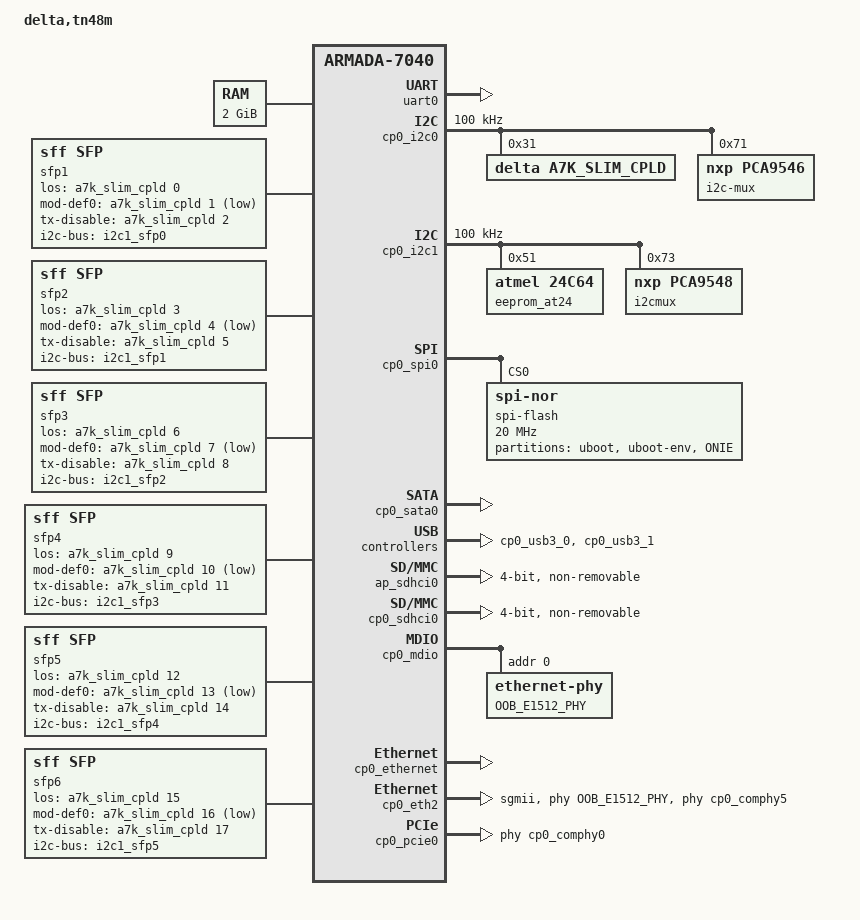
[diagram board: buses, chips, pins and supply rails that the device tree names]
/*
 * Delta TN48M/TN48M2/TN48M-POE Device Tree Source
 *
 * Copyright (C) 2016 Marvell Technology Group Ltd.
 *
 * This file is dual-licensed: you can use it either under the terms
 * of the GPLv2 or the X11 license, at your option. Note that this dual
 * licensing only applies to this file, and not this project as a
 * whole.
 *
 *  a) This library is free software; you can redistribute it and/or
 *     modify it under the terms of the GNU General Public License as
 *     published by the Free Software Foundation; either version 2 of the
 *     License, or (at your option) any later version.
 *
 *     This library is distributed in the hope that it will be useful,
 *     but WITHOUT ANY WARRANTY; without even the implied warranty of
 *     MERCHANTABILITY or FITNESS FOR A PARTICULAR PURPOSE.  See the
 *     GNU General Public License for more details.
 *
 * Or, alternatively,
 *
 *  b) Permission is hereby granted, free of charge, to any person
 *     obtaining a copy of this software and associated documentation
 *     files (the "Software"), to deal in the Software without
 *     restriction, including without limitation the rights to use,
 *     copy, modify, merge, publish, distribute, sublicense, and/or
 *     sell copies of the Software, and to permit persons to whom the
 *     Software is furnished to do so, subject to the following
 *     conditions:
 *
 *     The above copyright notice and this permission notice shall be
 *     included in all copies or substantial portions of the Software.
 *
 *     THE SOFTWARE IS PROVIDED "AS IS", WITHOUT WARRANTY OF ANY KIND,
 *     EXPRESS OR IMPLIED, INCLUDING BUT NOT LIMITED TO THE WARRANTIES
 *     OF MERCHANTABILITY, FITNESS FOR A PARTICULAR PURPOSE AND
 *     NONINFRINGEMENT. IN NO EVENT SHALL THE AUTHORS OR COPYRIGHT
 *     HOLDERS BE LIABLE FOR ANY CLAIM, DAMAGES OR OTHER LIABILITY,
 *     WHETHER IN AN ACTION OF CONTRACT, TORT OR OTHERWISE, ARISING
 *     FROM, OUT OF OR IN CONNECTION WITH THE SOFTWARE OR THE USE OR
 *     OTHER DEALINGS IN THE SOFTWARE.
 */

#include <dt-bindings/gpio/gpio.h>
#include "armada-7040.dtsi"

/ {
	model = "delta,tn48m";
	compatible = "delta,tn48m";

	chosen {
		stdout-path = "serial0:115200n8";
	};

	memory@0 {
		device_type = "memory";
		reg = <0x0 0x0 0x0 0x80000000>;
	};

	aliases {
		ethernet0 = &cp0_eth0;
		ethernet1 = &cp0_eth1;
		ethernet2 = &cp0_eth2;
	};

	sfp1: sfp-1 {
		compatible = "sff,sfp";
		i2c-bus = <&i2c1_sfp0>;
		maximum-power-milliwatt = <2000>;
		los-gpio = <&a7k_slim_cpld 0 GPIO_ACTIVE_HIGH>;
		mod-def0-gpio = <&a7k_slim_cpld 1 GPIO_ACTIVE_LOW>;
		tx-disable-gpio = <&a7k_slim_cpld 2 GPIO_ACTIVE_HIGH>;
	};

	sfp2: sfp-2 {
		compatible = "sff,sfp";
		i2c-bus = <&i2c1_sfp1>;
		maximum-power-milliwatt = <2000>;
		los-gpio = <&a7k_slim_cpld 3 GPIO_ACTIVE_HIGH>;
		mod-def0-gpio = <&a7k_slim_cpld 4 GPIO_ACTIVE_LOW>;
		tx-disable-gpio = <&a7k_slim_cpld 5 GPIO_ACTIVE_HIGH>;
	};

	sfp3: sfp-3 {
		compatible = "sff,sfp";
		i2c-bus = <&i2c1_sfp2>;
		maximum-power-milliwatt = <2000>;
		los-gpio = <&a7k_slim_cpld 6 GPIO_ACTIVE_HIGH>;
		mod-def0-gpio = <&a7k_slim_cpld 7 GPIO_ACTIVE_LOW>;
		tx-disable-gpio = <&a7k_slim_cpld 8 GPIO_ACTIVE_HIGH>;
	};

	sfp4: sfp-4 {
		compatible = "sff,sfp";
		i2c-bus = <&i2c1_sfp3>;
		maximum-power-milliwatt = <2000>;
		los-gpio = <&a7k_slim_cpld 9 GPIO_ACTIVE_HIGH>;
		mod-def0-gpio = <&a7k_slim_cpld 10 GPIO_ACTIVE_LOW>;
		tx-disable-gpio = <&a7k_slim_cpld 11 GPIO_ACTIVE_HIGH>;
	};

	sfp5: sfp-5 {
		compatible = "sff,sfp";
		i2c-bus = <&i2c1_sfp4>;
		maximum-power-milliwatt = <2000>;
		los-gpio = <&a7k_slim_cpld 12 GPIO_ACTIVE_HIGH>;
		mod-def0-gpio = <&a7k_slim_cpld 13 GPIO_ACTIVE_LOW>;
		tx-disable-gpio = <&a7k_slim_cpld 14 GPIO_ACTIVE_HIGH>;
	};

	sfp6: sfp-6 {
		compatible = "sff,sfp";
		i2c-bus = <&i2c1_sfp5>;
		maximum-power-milliwatt = <2000>;
		los-gpio = <&a7k_slim_cpld 15 GPIO_ACTIVE_HIGH>;
		mod-def0-gpio = <&a7k_slim_cpld 16 GPIO_ACTIVE_LOW>;
		tx-disable-gpio = <&a7k_slim_cpld 17 GPIO_ACTIVE_HIGH>;
	};

	prestera {
		compatible = "marvell,prestera";
		status = "okay";
		/* reg = <0x0 0x7F900000 0x0 0x40000>; */
		ports {
			port25 {
				prestera,port-num = <25>;
				sfp = <&sfp1>;
			};
			port26 {
				prestera,port-num = <26>;
				sfp = <&sfp2>;
			};

			port27 {
				prestera,port-num = <27>;
				sfp = <&sfp3>;
			};

			port28 {
				prestera,port-num = <28>;
				sfp = <&sfp4>;
			};

			port29 {
				prestera,port-num = <29>;
				sfp = <&sfp5>;
			};

			port30 {
				prestera,port-num = <30>;
				sfp = <&sfp6>;
			};
		};
	};

	onie_eeprom: onie-eeprom {
		compatible = "onie-nvmem-cells";
		status = "okay";

		nvmem = <&eeprom_at24>;
	};

	prestera {
		compatible = "marvell,prestera";
		status = "okay";

		base-mac-provider = <&onie_eeprom>;
	};
};

&uart0 {
	status = "okay";
};

&cp0_i2c0 {
	status = "okay";
	clock-frequency = <100000>;

	a7k_slim_cpld: a7k-slim-cpld@31 {
		compatible = "delta,a7k_slim_cpld";
		#address-cells = <1>;
		#size-cells = <0>;
		gpio-controller;
		#gpio-cells = <2>;
		reg = <0x31>;  /* CPLD/MUX I2C address */

		gpio-map {
			/* sfp1 */
			sfp01_gpio00_loss {
				reg-map = <0x32 (1 << 0)>;
				gpio-num = <0>;
			};
			sfp01_gpio01_pres {
				reg-map = <0x31 (1 << 0)>;
				gpio-num = <1>;
			};
			sfp01_gpio02_tx_dis {
				reg-map = <0x30 (1 << 0)>;
				gpio-num = <2>;
			};
			/* sfp2 */
			sfp02_gpio00_sfp_loss {
				reg-map = <0x32 (1 << 1)>;
				gpio-num = <3>;
			};
			sfp02_gpio01_sfp_pres {
				reg-map = <0x31 (1 << 1)>;
				gpio-num = <4>;
			};
			sfp02_gpio02_tx_dis {
				reg-map = <0x30 (1 << 1)>;
				gpio-num = <5>;
			};
			/* sfp3 */
			sfp03_gpio00_loss {
				reg-map = <0x32 (1 << 2)>;
				gpio-num = <6>;
			};
			sfp03_gpio01_pres {
				reg-map = <0x31 (1 << 2)>;
				gpio-num = <7>;
			};
			sfp03_gpio02_tx_dis {
				reg-map = <0x30 (1 << 2)>;
				gpio-num = <8>;
			};
			/* sfp4 */
			sfp04_gpio00_loss {
				reg-map = <0x32 (1 << 3)>;
				gpio-num = <9>;
			};
			sfp04_gpio01_sfp_pres {
				reg-map = <0x31 (1 << 3)>;
				gpio-num = <10>;
			};
			sfp04_gpio02_tx_dis {
				reg-map = <0x30 (1 << 3)>;
				gpio-num = <11>;
			};
			/* sfp5 */
			sfp05_gpio00_loss {
				reg-map = <0x32 (1 << 4)>;
				gpio-num = <12>;
			};
			sfp05_gpio01_pres {
				reg-map = <0x31 (1 << 4)>;
				gpio-num = <13>;
			};
			sfp05_gpio02_tx_dis {
				reg-map = <0x30 (1 << 4)>;
				gpio-num = <14>;
			};
			/* sfp6 */
			sfp06_gpio00_sfp_loss {
				reg-map = <0x32 (1 << 5)>;
				gpio-num = <15>;
			};
			sfp06_gpio01_sfp_pres {
				reg-map = <0x31 (1 << 5)>;
				gpio-num = <16>;
			};
			sfp06_gpio02_tx_dis {
				reg-map = <0x30 (1 << 5)>;
				gpio-num = <17>;
			};
		};
	};

	i2c-mux@71 {
		compatible = "nxp,pca9546";
		reg = <0x71>;
		#address-cells = <1>;
		#size-cells = <0>;

		i2c@0 {
			#address-cells = <1>;
			#size-cells = <0>;
			reg = <0>;
		};
		i2c@1 {
			#address-cells = <1>;
			#size-cells = <0>;
			reg = <1>;
		};
		i2c@2 {
			#address-cells = <1>;
			#size-cells = <0>;
			reg = <2>;
		};
		i2c@3 {
			#address-cells = <1>;
			#size-cells = <0>;
			reg = <3>;
		};
	};
};

&cp0_i2c1 {
	status = "okay";
	clock-frequency = <100000>;

	eeprom_at24: at24@51 {
		compatible = "atmel,24c64";
		reg = <0x51>;
	};

	i2cmux@73 {
		compatible = "nxp,pca9548";
		reg = <0x73>;
		#address-cells = <1>;
		#size-cells = <0>;
		i2c-mux-idle-disconnect;

		i2c1_sfp0: i2c@0 {
			reg = <0>;
			#address-cells = <1>;
			#size-cells = <0>;
                };
		i2c1_sfp1: i2c@1 {
			reg = <1>;
			#address-cells = <1>;
			#size-cells = <0>;
		};
		i2c1_sfp2: i2c@2 {
			reg = <2>;
			#address-cells = <1>;
			#size-cells = <0>;
		};
		i2c1_sfp3: i2c@3 {
			reg = <3>;
			#address-cells = <1>;
			#size-cells = <0>;
		};
		i2c1_sfp4: i2c@4 {
			reg = <4>;
			#address-cells = <1>;
			#size-cells = <0>;
		};
		i2c1_sfp5: i2c@5 {
			reg = <5>;
			#address-cells = <1>;
			#size-cells = <0>;
		};
		i2c1_sfp6: i2c@6 {
			reg = <6>;
			#address-cells = <1>;
			#size-cells = <0>;
		};
		i2c1_sfp7: i2c@7 {
			reg = <7>;
			#address-cells = <1>;
			#size-cells = <0>;
		};
	};
};

&cp0_spi0 {
	status = "okay";

	spi-flash@0 {
		compatible = "jedec,spi-nor";
		reg = <0x0>;
		spi-max-frequency = <20000000>;

		partitions {
			compatible = "fixed-partitions";
			#address-cells = <1>;
			#size-cells = <1>;

			partition@0 {
				label = "uboot";
				reg = <0x0 0x3f0000>;
			};

			partition@3f0000 {
				label = "uboot-env";
				reg = <0x3f0000 0x010000>;
			};

			partition@400000 {
				label = "ONIE";
				reg = <0x400000 0xc00000>;
			};
		};
	};
};

&cp0_sata0 {
	status = "okay";
};

&cp0_usb3_0 {
	status = "okay";
};

&cp0_usb3_1 {
	status = "okay";
};

&ap_sdhci0 {
	status = "okay";
	bus-width = <4>;
	no-1-8-v;
	non-removable;
};

&cp0_sdhci0 {
	status = "okay";
	bus-width = <4>;
	no-1-8-v;
	non-removable;
};

&cp0_mdio {
	status = "okay";

	OOB_E1512_PHY: ethernet-phy@1 {
		reg = <0x0>;
	};
};

&cp0_ethernet {
	status = "okay";
};

&cp0_eth0 {
	status = "disabled";
};

&cp0_eth1 {
	status = "disabled";
};

&cp0_eth2 {
	status = "okay";

	phy-mode = "sgmii";
	phy = <&OOB_E1512_PHY>;
	phys = <&cp0_comphy5 2>;
};

&cp0_crypto {
	status = "disabled";
};

&cp0_pcie0 {
	dma-ranges = <0x42000000 0x0 0x00000000 0x0 0x00000000 0x0 0x40000000>;
	ranges = <0x81000000 0x0 0xfb000000 0x0 0xfb000000 0x0 0xf0000
		0x82000000 0x0 0xf6000000 0x0 0xf6000000 0x0 0x1800000
		0x82000000 0x0 0xf9000000 0x0 0xf9000000 0x0 0x100000>;
	reg = <0x00 0xf2600000 0x00 0x10000 0x00 0xf7800000 0x00 0x80000>;
	phys = <&cp0_comphy0 0>;
	status = "okay";
};

